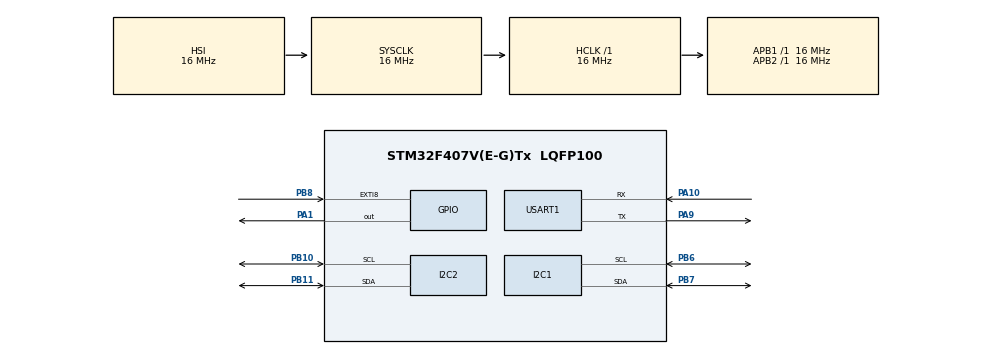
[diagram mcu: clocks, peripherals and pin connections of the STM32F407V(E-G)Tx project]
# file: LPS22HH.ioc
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Dma.I2C1_RX.0.Direction=DMA_PERIPH_TO_MEMORY
Dma.I2C1_RX.0.FIFOMode=DMA_FIFOMODE_DISABLE
Dma.I2C1_RX.0.Instance=DMA1_Stream0
Dma.I2C1_RX.0.MemDataAlignment=DMA_MDATAALIGN_BYTE
Dma.I2C1_RX.0.MemInc=DMA_MINC_ENABLE
Dma.I2C1_RX.0.Mode=DMA_NORMAL
Dma.I2C1_RX.0.PeriphDataAlignment=DMA_PDATAALIGN_BYTE
Dma.I2C1_RX.0.PeriphInc=DMA_PINC_DISABLE
Dma.I2C1_RX.0.Priority=DMA_PRIORITY_LOW
Dma.I2C1_TX.1.Direction=DMA_MEMORY_TO_PERIPH
Dma.I2C1_TX.1.FIFOMode=DMA_FIFOMODE_DISABLE
Dma.I2C1_TX.1.Instance=DMA1_Stream6
Dma.I2C1_TX.1.MemDataAlignment=DMA_MDATAALIGN_BYTE
Dma.I2C1_TX.1.MemInc=DMA_MINC_ENABLE
Dma.I2C1_TX.1.Mode=DMA_NORMAL
Dma.I2C1_TX.1.PeriphDataAlignment=DMA_PDATAALIGN_BYTE
Dma.I2C1_TX.1.PeriphInc=DMA_PINC_DISABLE
Dma.I2C1_TX.1.Priority=DMA_PRIORITY_LOW
Dma.Request0=I2C1_RX
Dma.Request1=I2C1_TX
Dma.Request2=USART1_RX
Dma.Request3=USART1_TX
Dma.USART1_RX.2.Direction=DMA_PERIPH_TO_MEMORY
Dma.USART1_RX.2.FIFOMode=DMA_FIFOMODE_DISABLE
Dma.USART1_RX.2.Instance=DMA2_Stream2
Dma.USART1_RX.2.MemDataAlignment=DMA_MDATAALIGN_BYTE
Dma.USART1_RX.2.MemInc=DMA_MINC_ENABLE
Dma.USART1_RX.2.Mode=DMA_NORMAL
Dma.USART1_RX.2.PeriphDataAlignment=DMA_PDATAALIGN_BYTE
Dma.USART1_RX.2.PeriphInc=DMA_PINC_DISABLE
Dma.USART1_RX.2.Priority=DMA_PRIORITY_LOW
Dma.USART1_TX.3.Direction=DMA_MEMORY_TO_PERIPH
Dma.USART1_TX.3.FIFOMode=DMA_FIFOMODE_DISABLE
Dma.USART1_TX.3.Instance=DMA2_Stream7
Dma.USART1_TX.3.MemDataAlignment=DMA_MDATAALIGN_BYTE
Dma.USART1_TX.3.MemInc=DMA_MINC_ENABLE
Dma.USART1_TX.3.Mode=DMA_NORMAL
Dma.USART1_TX.3.PeriphDataAlignment=DMA_PDATAALIGN_BYTE
Dma.USART1_TX.3.PeriphInc=DMA_PINC_DISABLE
Dma.USART1_TX.3.Priority=DMA_PRIORITY_LOW
Mcu.Family=STM32F4
Mcu.Name=STM32F407V(E-G)Tx
Mcu.Package=LQFP100
NVIC.DMA1_Stream0_IRQn=true\:0\:0\:false\:false\:true\:false\:true\:true
NVIC.DMA1_Stream6_IRQn=true\:0\:0\:false\:false\:true\:false\:true\:true
NVIC.DMA2_Stream2_IRQn=true\:0\:0\:false\:false\:true\:false\:true\:true
NVIC.DMA2_Stream7_IRQn=true\:0\:0\:false\:false\:true\:false\:true\:true
NVIC.EXTI9_5_IRQn=true\:0\:0\:false\:false\:true\:true\:true\:true
NVIC.PriorityGroup=NVIC_PRIORITYGROUP_4
PA1.Signal=GPIO_Output
PA10.Mode=Asynchronous
PA10.Signal=USART1_RX
PA13.Mode=Serial_Wire
PA13.Signal=SYS_JTMS-SWDIO
PA14.Mode=Serial_Wire
PA14.Signal=SYS_JTCK-SWCLK
PA9.Mode=Asynchronous
PA9.Signal=USART1_TX
PB10.Mode=I2C
PB10.Signal=I2C2_SCL
PB11.Mode=I2C
PB11.Signal=I2C2_SDA
PB6.Mode=I2C
PB6.Signal=I2C1_SCL
PB7.Mode=I2C
PB7.Signal=I2C1_SDA
PB8.Signal=GPXTI8
ProjectManager.HeapSize=0x200
ProjectManager.StackSize=0x400
ProjectManager.TargetToolchain=CMake
RCC.AHBFreq_Value=16000000
RCC.APB1Freq_Value=16000000
RCC.APB2Freq_Value=16000000
RCC.CortexFreq_Value=16000000
RCC.HSE_VALUE=25000000
RCC.HSI_VALUE=16000000
RCC.LSE_VALUE=32768
RCC.SYSCLKFreq_VALUE=16000000
RCC.VCOOutputFreq_Value=192000000
USART1.VirtualMode=VM_ASYNC
board=custom

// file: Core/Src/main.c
/* USER CODE BEGIN Header */
/**
  ******************************************************************************
  * @file           : main.c
  * @brief          : Main program body
  ******************************************************************************
  * @attention
  *
  * Copyright (c) 2025 STMicroelectronics.
  * All rights reserved.
  *
  * This software is licensed under terms that can be found in the LICENSE file
  * in the root directory of this software component.
  * If no LICENSE file comes with this software, it is provided AS-IS.
  *
  ******************************************************************************
  */
/* USER CODE END Header */
#include "main.h"
#include "dma.h"
#include "i2c.h"
#include "usart.h"
#include "gpio.h"

/* USER CODE BEGIN Includes */
#include "lps22hh_app.h"
/* USER CODE END Includes */

/* USER CODE BEGIN PTD */

typedef struct {
  int decimalPart;
  int integerPart;
}FloatNum;

/* USER CODE END PTD */

void SystemClock_Config(void);

/* USER CODE BEGIN 0 */
void HAL_GPIO_EXTI_Callback(uint16_t GPIO_Pin) {
  //if (GPIO_Pin == GPIO_PIN_8) {
    // Test
    char message[] = "FIFO FULL\n";
    HAL_UART_Transmit(&huart1, message, strlen(message), HAL_MAX_DELAY);

    LPS22HH_FIFO_Set_Mode(&lps22hhObj, LPS22HH_BYPASS_MODE);
    LPS22HH_FIFO_Set_Mode(&lps22hhObj, LPS22HH_FIFO_MODE);
    // Set the state
  //}
}

FloatNum * Float_Process(float data, int precision, FloatNum * out) {
  out->integerPart = (int)data;
  out->decimalPart = (int)((data - out->integerPart) * (10 ^ (precision)));
  return out;
}
/* USER CODE END 0 */

int main(void)
{

  /* MCU Configuration--------------------------------------------------------*/

  /* Reset of all peripherals, Initializes the Flash interface and the Systick. */
  HAL_Init();

  /* Configure the system clock */
  SystemClock_Config();

  /* Initialize all configured peripherals */
  MX_GPIO_Init();
  MX_DMA_Init();
  MX_I2C1_Init();
  MX_USART1_UART_Init();
  MX_I2C2_Init();
  /* USER CODE BEGIN 2 */
  char message[20] = {0};
  float odr_data = 0, press = 0, temp = 0;

  // lps22hh_debug_FIFOstatus(&lps22hhObj, &FIFODebugData);
  if (lps22hh_App_Init(&lps22hhObj, &lps22hhIO) != LPS22HH_OK) {
    HAL_UART_Transmit(&huart1, (const uint8_t *)"Sensor init failed!\r\n", strlen("Sensor init failed!\r\n"), HAL_MAX_DELAY);
    lps22hhState = lps22hhERROR;
  }else {
    HAL_UART_Transmit(&huart1, (const uint8_t *)"Sensor init success!\r\n", strlen("Sensor init success!\r\n"), HAL_MAX_DELAY);
  }
  HAL_Delay(500);
  if (lps22hh_App_FIFO_Init(&lps22hhObj, 25) != LPS22HH_OK) {
    HAL_UART_Transmit(&huart1, (const uint8_t *)"FIFO init failed!\r\n", strlen("FIFO init failed!\r\n"), HAL_MAX_DELAY);
    lps22hhState = lps22hhERROR;
  }else {
    HAL_UART_Transmit(&huart1, (const uint8_t *)"FIFO init success!\r\n", strlen("FIFO init success!\r\n"), HAL_MAX_DELAY);
  }
  lps22hh_debug_FIFOstatus(&lps22hhObj, &lps22hhFIFODebugData);

  LPS22HH_FIFO_Set_Mode(&lps22hhObj, LPS22HH_BYPASS_MODE);
  LPS22HH_FIFO_Set_Mode(&lps22hhObj, LPS22HH_FIFO_MODE);
  /* USER CODE END 2 */

  /* Infinite loop */
  /* USER CODE BEGIN WHILE */
  while (1)
  {
    // lps22hh_App_GetOutputDataRate(&lps22hhObj, &odr_data);

    /* USER CODE END WHILE */

  }
}

void SystemClock_Config(void)
{
  RCC_OscInitTypeDef RCC_OscInitStruct = {0};
  RCC_ClkInitTypeDef RCC_ClkInitStruct = {0};

  /** Configure the main internal regulator output voltage
  */
  __HAL_RCC_PWR_CLK_ENABLE();
  __HAL_PWR_VOLTAGESCALING_CONFIG(PWR_REGULATOR_VOLTAGE_SCALE1);

  /** Initializes the RCC Oscillators according to the specified parameters
  * in the RCC_OscInitTypeDef structure.
  */
  RCC_OscInitStruct.OscillatorType = RCC_OSCILLATORTYPE_HSI;
  RCC_OscInitStruct.HSIState = RCC_HSI_ON;
  RCC_OscInitStruct.HSICalibrationValue = RCC_HSICALIBRATION_DEFAULT;
  RCC_OscInitStruct.PLL.PLLState = RCC_PLL_NONE;
  if (HAL_RCC_OscConfig(&RCC_OscInitStruct) != HAL_OK)
  {
    Error_Handler();
  }

  /** Initializes the CPU, AHB and APB buses clocks
  */
  RCC_ClkInitStruct.ClockType = RCC_CLOCKTYPE_HCLK|RCC_CLOCKTYPE_SYSCLK
                              |RCC_CLOCKTYPE_PCLK1|RCC_CLOCKTYPE_PCLK2;
  RCC_ClkInitStruct.SYSCLKSource = RCC_SYSCLKSOURCE_HSI;
  RCC_ClkInitStruct.AHBCLKDivider = RCC_SYSCLK_DIV1;
  RCC_ClkInitStruct.APB1CLKDivider = RCC_HCLK_DIV1;
  RCC_ClkInitStruct.APB2CLKDivider = RCC_HCLK_DIV1;

  if (HAL_RCC_ClockConfig(&RCC_ClkInitStruct, FLASH_LATENCY_0) != HAL_OK)
  {
    Error_Handler();
  }
}

void Error_Handler(void)
{
  __disable_irq();
  while (1)
  {
  }
}
